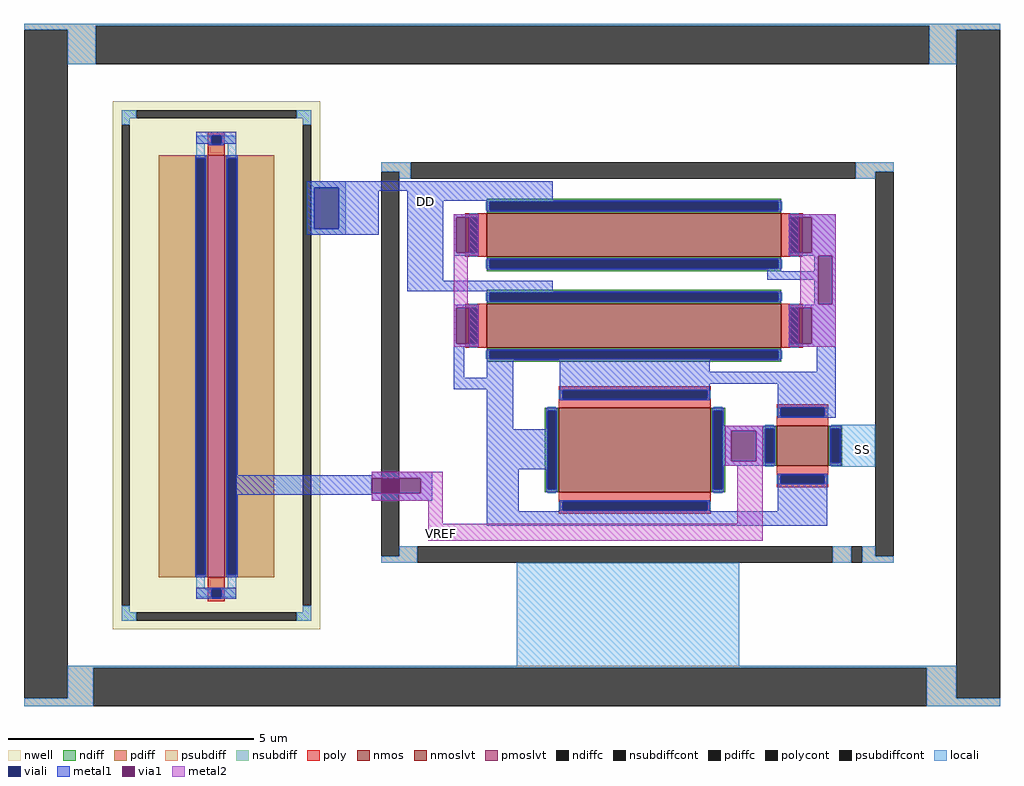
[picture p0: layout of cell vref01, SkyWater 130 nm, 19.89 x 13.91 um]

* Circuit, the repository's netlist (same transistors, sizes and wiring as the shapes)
** sch_path: /home/cass/eda/pmu-circuits/xschem/vref01.sch
**.subckt vref01 VREF SS DD
*.opin VREF
*.iopin SS
*.iopin DD
XM1 DD gate gate SS sky130_fd_pr__nfet_01v8_lvt L=0.89 W=6 nf=1 ad='int((nf+1)/2) * W/nf * 0.29' as='int((nf+2)/2) * W/nf * 0.29'
+ pd='2*int((nf+1)/2) * (W/nf + 0.29)' ps='2*int((nf+2)/2) * (W/nf + 0.29)' nrd='0.29 / W' nrs='0.29 / W'
+ sa=0 sb=0 sd=0 mult=2 m=2
XM2 gate gate VREF SS sky130_fd_pr__nfet_01v8_lvt L=3.10 W=1.72 nf=1 ad='int((nf+1)/2) * W/nf * 0.29'
+ as='int((nf+2)/2) * W/nf * 0.29' pd='2*int((nf+1)/2) * (W/nf + 0.29)' ps='2*int((nf+2)/2) * (W/nf + 0.29)'
+ nrd='0.29 / W' nrs='0.29 / W' sa=0 sb=0 sd=0 mult=1 m=1
XM3 VREF gate SS SS sky130_fd_pr__nfet_01v8 L=1.05 W=0.82 nf=1 ad='int((nf+1)/2) * W/nf * 0.29' as='int((nf+2)/2) * W/nf * 0.29'
+ pd='2*int((nf+1)/2) * (W/nf + 0.29)' ps='2*int((nf+2)/2) * (W/nf + 0.29)' nrd='0.29 / W' nrs='0.29 / W'
+ sa=0 sb=0 sd=0 mult=1 m=1
XM4 VREF VREF VREF DD sky130_fd_pr__pfet_01v8_lvt L=0.35 W=8.6 nf=1 ad='int((nf+1)/2) * W/nf * 1' as='int((nf+2)/2) * W/nf * 1'
+ pd='2*int((nf+1)/2) * (W/nf + 1)' ps='2*int((nf+2)/2) * (W/nf + 1)' nrd='1 / W' nrs='1 / W' sa=0 sb=0
+ sd=0 mult=1 m=1
**.ends
.end

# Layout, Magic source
magic
tech sky130A
magscale 1 2
<< nwell >>
rect -1790 197 -945 2350
<< nmos >>
rect 916 864 1126 1028
<< pmoslvt >>
rect -1403 409 -1333 2129
<< nmoslvt >>
rect -266 1716 934 1894
rect -266 1346 934 1524
rect 28 756 648 1100
<< ndiff >>
rect -266 1940 934 1952
rect -266 1906 -254 1940
rect 922 1906 934 1940
rect -266 1894 934 1906
rect -266 1704 934 1716
rect -266 1670 -254 1704
rect 922 1670 934 1704
rect -266 1658 934 1670
rect -266 1570 934 1582
rect -266 1536 -254 1570
rect 922 1536 934 1570
rect -266 1524 934 1536
rect -266 1334 934 1346
rect -266 1300 -254 1334
rect 922 1300 934 1334
rect -266 1288 934 1300
rect -30 1088 28 1100
rect -30 768 -18 1088
rect 16 768 28 1088
rect -30 756 28 768
rect 648 1088 706 1100
rect 648 768 660 1088
rect 694 768 706 1088
rect 858 1016 916 1028
rect 858 876 870 1016
rect 904 876 916 1016
rect 858 864 916 876
rect 1126 1016 1184 1028
rect 1126 876 1138 1016
rect 1172 876 1184 1016
rect 1126 864 1184 876
rect 648 756 706 768
<< pdiff >>
rect -1603 2117 -1403 2129
rect -1603 421 -1449 2117
rect -1415 421 -1403 2117
rect -1603 409 -1403 421
rect -1333 2117 -1133 2129
rect -1333 421 -1321 2117
rect -1287 421 -1133 2117
rect -1333 409 -1133 421
<< ndiffc >>
rect -254 1906 922 1940
rect -254 1670 922 1704
rect -254 1536 922 1570
rect -254 1300 922 1334
rect -18 768 16 1088
rect 660 768 694 1088
rect 870 876 904 1016
rect 1138 876 1172 1016
<< pdiffc >>
rect -1449 421 -1415 2117
rect -1321 421 -1287 2117
<< psubdiff >>
rect -2152 2658 1826 2666
rect -2152 2642 -1860 2658
rect -1974 2501 -1860 2642
rect 1537 2642 1826 2658
rect 1537 2501 1648 2642
rect -696 2062 -576 2102
rect -622 2034 -576 2062
rect 1238 2062 1392 2102
rect 1238 2034 1318 2062
rect -622 496 -550 536
rect -696 468 -550 496
rect 1144 468 1220 536
rect 1264 496 1318 536
rect 1264 468 1392 496
rect -1974 41 1648 49
rect -1974 -83 -1870 41
rect -2152 -116 -1870 -83
rect 1527 -83 1648 41
rect 1527 -116 1826 -83
<< nsubdiff >>
rect -1754 2280 -1694 2314
rect -1041 2280 -981 2314
rect -1754 2254 -1720 2280
rect -1015 2254 -981 2280
rect -1754 267 -1720 293
rect -1015 267 -981 293
rect -1754 233 -1694 267
rect -1041 233 -981 267
<< psubdiffcont >>
rect -2152 -83 -1974 2642
rect -1860 2501 1537 2658
rect -696 496 -622 2062
rect -576 2034 1238 2102
rect -550 468 1144 536
rect 1220 468 1264 536
rect 1318 496 1392 2062
rect -1870 -116 1527 41
rect 1648 -83 1826 2642
<< nsubdiffcont >>
rect -1694 2280 -1041 2314
rect -1754 293 -1720 2254
rect -1015 293 -981 2254
rect -1694 233 -1041 267
<< poly >>
rect -1403 2210 -1333 2226
rect -1403 2176 -1387 2210
rect -1349 2176 -1333 2210
rect -1403 2129 -1333 2176
rect -1403 362 -1333 409
rect -1403 328 -1387 362
rect -1349 328 -1333 362
rect -1403 312 -1333 328
rect -354 1878 -266 1894
rect -354 1732 -338 1878
rect -304 1732 -266 1878
rect -354 1716 -266 1732
rect 934 1878 1022 1894
rect 934 1732 972 1878
rect 1006 1732 1022 1878
rect 934 1716 1022 1732
rect -354 1508 -266 1524
rect -354 1362 -338 1508
rect -304 1362 -266 1508
rect -354 1346 -266 1362
rect 934 1508 1022 1524
rect 934 1362 972 1508
rect 1006 1362 1022 1508
rect 934 1346 1022 1362
rect 28 1172 648 1188
rect 28 1138 44 1172
rect 632 1138 648 1172
rect 28 1100 648 1138
rect 916 1100 1126 1116
rect 916 1066 932 1100
rect 1110 1066 1126 1100
rect 916 1028 1126 1066
rect 916 826 1126 864
rect 916 792 932 826
rect 1110 792 1126 826
rect 916 776 1126 792
rect 28 718 648 756
rect 28 684 44 718
rect 632 684 648 718
rect 28 668 648 684
<< polycont >>
rect -1387 2176 -1349 2210
rect -1387 328 -1349 362
rect -338 1732 -304 1878
rect 972 1732 1006 1878
rect -338 1362 -304 1508
rect 972 1362 1006 1508
rect 44 1138 632 1172
rect 932 1066 1110 1100
rect 932 792 1110 826
rect 44 684 632 718
<< locali >>
rect -2152 2658 1826 2666
rect -2152 2642 -1860 2658
rect -1974 2501 -1860 2642
rect 1537 2642 1826 2658
rect 1537 2501 1648 2642
rect -1754 2280 -1694 2314
rect -1041 2280 -981 2314
rect -1754 2254 -1720 2280
rect -1015 2254 -981 2280
rect -1449 2176 -1387 2210
rect -1349 2176 -1287 2210
rect -1449 2117 -1415 2176
rect -1449 362 -1415 421
rect -1321 2117 -1287 2176
rect -1321 362 -1287 421
rect -1449 328 -1387 362
rect -1349 328 -1287 362
rect -1754 267 -1720 293
rect -696 2062 -576 2102
rect -981 1998 -840 2024
rect -981 1830 -970 1998
rect -869 1830 -840 1998
rect -981 1806 -840 1830
rect -622 2034 -576 2062
rect 1238 2062 1392 2102
rect 1238 2034 1318 2062
rect -270 1906 -254 1940
rect 922 1906 938 1940
rect -338 1878 -304 1894
rect -338 1716 -304 1732
rect 972 1878 1006 1894
rect 972 1716 1006 1732
rect -270 1670 -254 1704
rect 922 1670 938 1704
rect -270 1536 -254 1570
rect 922 1536 938 1570
rect -338 1508 -304 1524
rect -338 1346 -304 1362
rect 972 1508 1006 1524
rect 972 1346 1006 1362
rect -270 1300 -254 1334
rect 922 1300 938 1334
rect 28 1138 44 1172
rect 632 1138 648 1172
rect -18 1088 16 1104
rect -18 752 16 768
rect 660 1088 694 1104
rect 916 1066 932 1100
rect 1110 1066 1126 1100
rect 870 1016 904 1032
rect 870 860 904 876
rect 1138 1016 1318 1032
rect 1172 876 1318 1016
rect 1138 860 1318 876
rect 916 792 932 826
rect 1110 792 1126 826
rect 660 752 694 768
rect 28 684 44 718
rect 632 684 648 718
rect -622 496 -550 536
rect -696 468 -550 496
rect 1144 468 1220 536
rect 1264 496 1318 536
rect 1264 468 1392 496
rect -1015 267 -981 293
rect -1754 233 -1694 267
rect -1041 233 -981 267
rect -143 49 764 468
rect -1974 41 1648 49
rect -1974 -83 -1870 41
rect -2152 -116 -1870 -83
rect 1527 -83 1648 41
rect 1527 -116 1826 -83
<< viali >>
rect -1387 2176 -1349 2210
rect -1449 421 -1415 2117
rect -1321 421 -1287 2117
rect -1387 328 -1349 362
rect -970 1830 -869 1998
rect -254 1906 922 1940
rect -338 1732 -304 1878
rect 972 1732 1006 1878
rect -254 1670 922 1704
rect -254 1536 922 1570
rect -338 1362 -304 1508
rect 972 1362 1006 1508
rect -254 1300 922 1334
rect 44 1138 632 1172
rect -18 768 16 1088
rect 660 768 694 1088
rect 932 1066 1110 1100
rect 870 876 904 1016
rect 1138 876 1172 1016
rect 932 792 1110 826
rect 44 684 632 718
<< metal1 >>
rect -1449 2210 -1287 2226
rect -1449 2176 -1387 2210
rect -1349 2176 -1287 2210
rect -1399 2170 -1337 2176
rect -1455 2117 -1409 2129
rect -1455 421 -1449 2117
rect -1415 421 -1409 2117
rect -1455 409 -1409 421
rect -1327 2117 -1281 2129
rect -1327 421 -1321 2117
rect -1287 825 -1281 2117
rect -999 1998 4 2024
rect -999 1830 -970 1998
rect -869 1986 4 1998
rect -869 1830 -706 1986
rect -999 1806 -706 1830
rect -590 1946 4 1986
rect -590 1944 934 1946
rect -590 1618 -444 1944
rect -266 1940 934 1944
rect -266 1906 -254 1940
rect 922 1906 934 1940
rect -266 1900 934 1906
rect -400 1878 -298 1890
rect -400 1732 -390 1878
rect -304 1732 -298 1878
rect -400 1720 -298 1732
rect 966 1878 1156 1890
rect 966 1732 972 1878
rect 1058 1732 1156 1878
rect 966 1720 1156 1732
rect -266 1704 934 1710
rect -266 1670 -254 1704
rect 922 1670 934 1704
rect -266 1664 934 1670
rect 878 1658 934 1664
rect 1068 1658 1086 1720
rect 878 1622 1086 1658
rect -590 1576 4 1618
rect -266 1570 934 1576
rect -266 1536 -254 1570
rect 922 1536 934 1570
rect -266 1530 934 1536
rect 1068 1522 1086 1622
rect 1142 1522 1156 1720
rect 1068 1520 1156 1522
rect -400 1508 -298 1520
rect -400 1362 -390 1508
rect -304 1362 -298 1508
rect -400 1350 -298 1362
rect 966 1508 1156 1520
rect 966 1362 972 1508
rect 1058 1362 1156 1508
rect 966 1350 1156 1362
rect -400 1224 -358 1350
rect -266 1334 934 1340
rect -266 1300 -254 1334
rect 922 1300 934 1334
rect -266 1294 934 1300
rect -266 1224 -158 1294
rect -400 1176 -158 1224
rect -266 1014 -158 1176
rect 32 1248 644 1294
rect 1080 1248 1156 1350
rect 32 1198 1156 1248
rect 32 1172 644 1198
rect 32 1138 44 1172
rect 632 1138 644 1172
rect 32 1132 644 1138
rect 920 1100 1156 1198
rect -24 1088 22 1100
rect -24 1014 -18 1088
rect -266 850 -18 1014
rect -734 825 -488 840
rect -1287 814 -488 825
rect -1287 752 -734 814
rect -534 752 -488 814
rect -1287 747 -488 752
rect -1287 421 -1281 747
rect -734 722 -488 747
rect -266 678 -136 850
rect -24 768 -18 850
rect 16 768 22 1088
rect -24 756 22 768
rect 654 1088 700 1100
rect 654 768 660 1088
rect 694 1028 700 1088
rect 920 1066 932 1100
rect 1110 1066 1156 1100
rect 920 1060 1156 1066
rect 694 1016 910 1028
rect 694 1006 870 1016
rect 694 882 730 1006
rect 832 882 870 1006
rect 694 876 870 882
rect 904 876 910 1016
rect 694 864 910 876
rect 1132 1016 1178 1028
rect 1132 876 1138 1016
rect 1172 876 1178 1016
rect 1132 864 1178 876
rect 694 768 700 864
rect 654 756 700 768
rect 920 826 1122 832
rect 920 792 932 826
rect 1110 792 1122 826
rect 32 718 644 724
rect 32 684 44 718
rect 632 684 644 718
rect 32 678 644 684
rect 920 678 1122 792
rect -266 620 1122 678
rect -1327 409 -1281 421
rect -1449 362 -1287 368
rect -1449 328 -1387 362
rect -1349 328 -1287 362
rect -1449 322 -1287 328
<< via1 >>
rect -390 1732 -338 1878
rect 1006 1732 1058 1878
rect 1086 1522 1142 1720
rect -390 1362 -338 1508
rect 1006 1362 1058 1508
rect -734 752 -534 814
rect 730 882 832 1006
<< metal2 >>
rect -400 1878 -298 1890
rect -400 1732 -390 1878
rect -338 1732 -298 1878
rect -400 1720 -298 1732
rect 966 1878 1156 1890
rect 966 1732 1006 1878
rect 1058 1732 1156 1878
rect 966 1720 1156 1732
rect -400 1520 -344 1720
rect 1012 1522 1086 1720
rect 1142 1522 1156 1720
rect 1012 1520 1156 1522
rect -400 1508 -298 1520
rect -400 1362 -390 1508
rect -338 1362 -298 1508
rect -400 1350 -298 1362
rect 966 1508 1156 1520
rect 966 1362 1006 1508
rect 1058 1362 1156 1508
rect 966 1350 1156 1362
rect 706 1006 858 1028
rect 706 882 730 1006
rect 832 882 858 1006
rect 706 864 858 882
rect -734 814 -446 840
rect -534 752 -446 814
rect -734 722 -446 752
rect -504 628 -446 722
rect 756 628 858 864
rect -504 558 858 628
<< labels >>
flabel metal2 -484 566 -416 614 0 FreeSans 1600 0 0 0 VREF
port 0 nsew
flabel metal1 -548 1916 -480 1964 0 FreeSans 1600 0 0 0 DD
port 1 nsew
flabel locali 1230 908 1298 956 0 FreeSans 1600 0 0 0 SS
port 2 nsew
<< end >>
